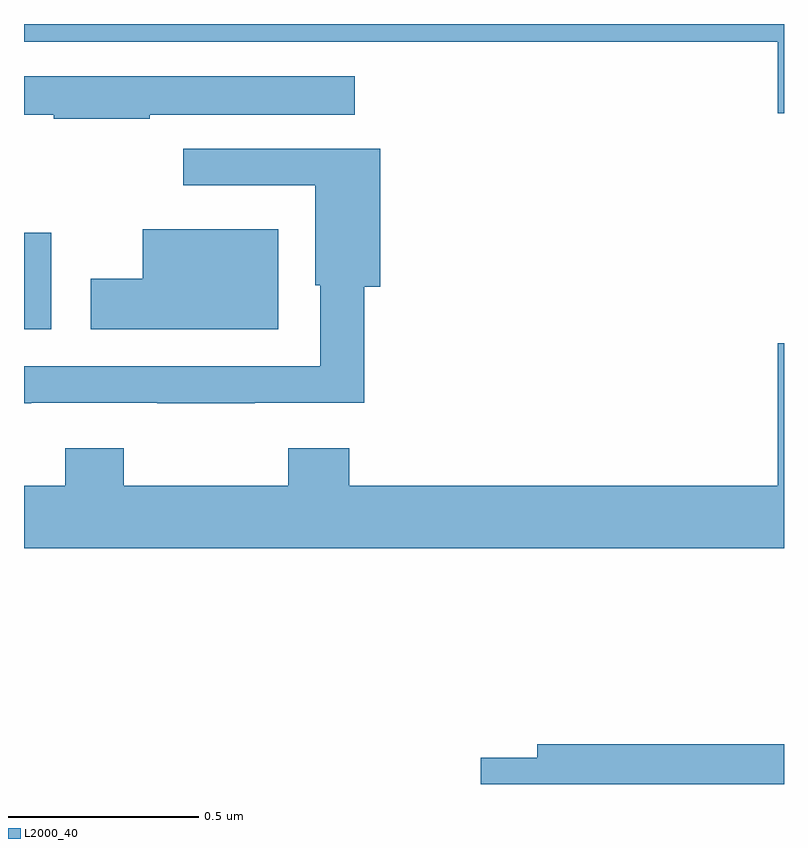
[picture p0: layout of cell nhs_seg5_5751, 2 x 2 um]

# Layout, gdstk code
import gdstk
lib = gdstk.Library(unit=1e-6, precision=1e-09)
def R(c, l, rs):  # rectangles x0, y0, x1, y1
    for r in rs: c.add(gdstk.rectangle(r[:2], r[2:], *l))
def P(c, l, *ps):  # polygons
    for p in ps: c.add(gdstk.Polygon(p, *l))
L2000_40 = (2000, 40)

nhs_seg5_5751 = lib.new_cell('nhs_seg5_5751')
R(nhs_seg5_5751, L2000_40, [(187,863.996,187.072,864.25)])
P(nhs_seg5_5751, L2000_40, [(189,864.799),(187,864.799),(187,864.752),(188.984,864.752),(188.984,864.564),(189,864.564)],
  [(187.331,864.56),(187.87,864.56),(187.87,864.661),(187,864.661),(187,864.56),(187.078,864.56),(187.078,864.55),(187.331,864.55)],
  [(187.019,863.802),(187.351,863.802),(187.351,863.801),(187.607,863.801),(187.607,863.802),(187.895,863.802),(187.895,864.107),(187.937,864.107),(187.937,864.471),(187.419,864.471),(187.419,864.375),(187.766,864.375),(187.766,864.111),(187.779,864.111),(187.779,863.898),(187,863.898),(187,863.801),(187.019,863.801)],
  [(187.669,864.259),(187.313,864.259),(187.313,864.129),(187.176,864.129),(187.176,863.996),(187.669,863.996)],
  [(189,863.959),(188.984,863.959),(188.984,863.584),(187.856,863.584),(187.856,863.683),(187.696,863.683),(187.696,863.584),(187.263,863.584),(187.263,863.683),(187.108,863.683),(187.108,863.584),(187,863.584),(187,863.42),(189,863.42)],
  [(189,862.904),(188.351,862.904),(188.351,862.868),(188.202,862.868),(188.202,862.799),(189,862.799)])

lib.write_gds('nhs_seg5_5751.gds')
